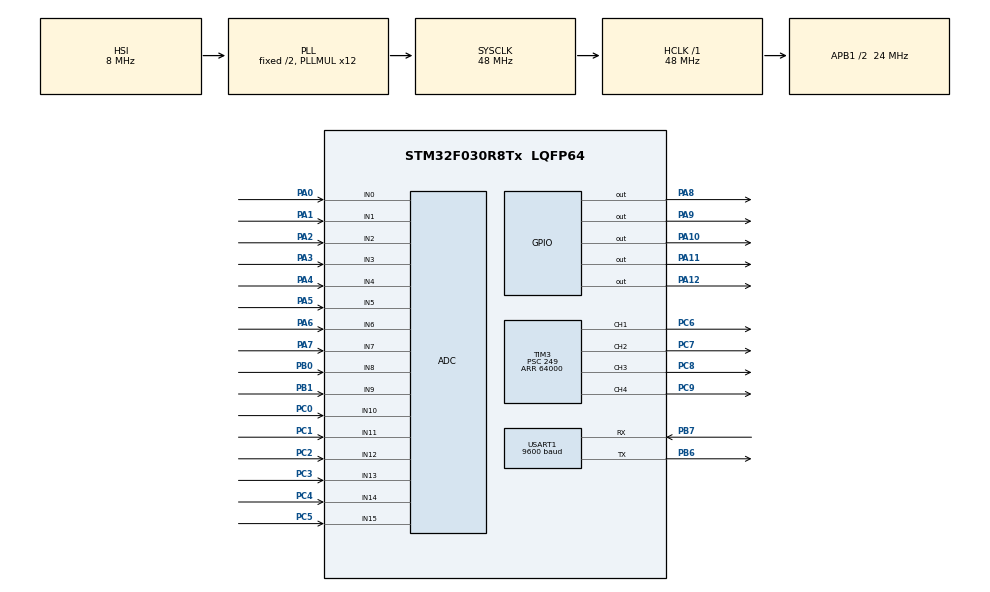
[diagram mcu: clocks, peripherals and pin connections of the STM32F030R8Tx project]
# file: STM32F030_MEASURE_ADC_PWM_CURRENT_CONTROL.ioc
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ADC.ContinuousConvMode=ENABLE
ADC.EOCSelection=ADC_EOC_SEQ_CONV
ADC.SamplingTime=ADC_SAMPLETIME_13CYCLES_5
Dma.ADC.0.Direction=DMA_PERIPH_TO_MEMORY
Dma.ADC.0.Instance=DMA1_Channel1
Dma.ADC.0.MemDataAlignment=DMA_MDATAALIGN_HALFWORD
Dma.ADC.0.MemInc=DMA_MINC_ENABLE
Dma.ADC.0.Mode=DMA_NORMAL
Dma.ADC.0.PeriphDataAlignment=DMA_PDATAALIGN_HALFWORD
Dma.ADC.0.PeriphInc=DMA_PINC_DISABLE
Dma.ADC.0.Priority=DMA_PRIORITY_LOW
Dma.Request0=ADC
Dma.Request1=USART1_RX
Dma.Request2=USART1_TX
Dma.USART1_RX.1.Direction=DMA_PERIPH_TO_MEMORY
Dma.USART1_RX.1.Instance=DMA1_Channel3
Dma.USART1_RX.1.MemDataAlignment=DMA_MDATAALIGN_BYTE
Dma.USART1_RX.1.MemInc=DMA_MINC_ENABLE
Dma.USART1_RX.1.Mode=DMA_NORMAL
Dma.USART1_RX.1.PeriphDataAlignment=DMA_PDATAALIGN_BYTE
Dma.USART1_RX.1.PeriphInc=DMA_PINC_DISABLE
Dma.USART1_RX.1.Priority=DMA_PRIORITY_LOW
Dma.USART1_TX.2.Direction=DMA_MEMORY_TO_PERIPH
Dma.USART1_TX.2.Instance=DMA1_Channel2
Dma.USART1_TX.2.MemDataAlignment=DMA_MDATAALIGN_BYTE
Dma.USART1_TX.2.MemInc=DMA_MINC_ENABLE
Dma.USART1_TX.2.Mode=DMA_NORMAL
Dma.USART1_TX.2.PeriphDataAlignment=DMA_PDATAALIGN_BYTE
Dma.USART1_TX.2.PeriphInc=DMA_PINC_DISABLE
Dma.USART1_TX.2.Priority=DMA_PRIORITY_LOW
Mcu.Family=STM32F0
Mcu.Name=STM32F030R8Tx
Mcu.Package=LQFP64
NVIC.DMA1_Channel1_IRQn=true\:0\:0\:false\:false\:true\:false\:true\:true
NVIC.DMA1_Channel2_3_IRQn=true\:0\:0\:false\:false\:true\:false\:true\:true
NVIC.TIM14_IRQn=true\:0\:0\:false\:false\:true\:true\:true\:true
NVIC.USART1_IRQn=true\:0\:0\:false\:false\:true\:true\:true\:true
PA0.Mode=IN0
PA0.Signal=ADC_IN0
PA1.Mode=IN1
PA1.Signal=ADC_IN1
PA10.Signal=GPIO_Output
PA11.Signal=GPIO_Output
PA12.Signal=GPIO_Output
PA2.Mode=IN2
PA2.Signal=ADC_IN2
PA3.Mode=IN3
PA3.Signal=ADC_IN3
PA4.Mode=IN4
PA4.Signal=ADC_IN4
PA5.Mode=IN5
PA5.Signal=ADC_IN5
PA6.Mode=IN6
PA6.Signal=ADC_IN6
PA7.Mode=IN7
PA7.Signal=ADC_IN7
PA8.Signal=GPIO_Output
PA9.Signal=GPIO_Output
PB0.Mode=IN8
PB0.Signal=ADC_IN8
PB1.Mode=IN9
PB1.Signal=ADC_IN9
PB6.Mode=Asynchronous
PB6.Signal=USART1_TX
PB7.Mode=Asynchronous
PB7.Signal=USART1_RX
PC0.Mode=IN10
PC0.Signal=ADC_IN10
PC1.Mode=IN11
PC1.Signal=ADC_IN11
PC2.Mode=IN12
PC2.Signal=ADC_IN12
PC3.Mode=IN13
PC3.Signal=ADC_IN13
PC4.Mode=IN14
PC4.Signal=ADC_IN14
PC5.Mode=IN15
PC5.Signal=ADC_IN15
PC6.Signal=S_TIM3_CH1
PC7.Signal=S_TIM3_CH2
PC8.Signal=S_TIM3_CH3
PC9.Signal=S_TIM3_CH4
ProjectManager.HeapSize=0x200
ProjectManager.StackSize=0x400
ProjectManager.TargetToolchain=STM32CubeIDE
RCC.AHBFreq_Value=48000000
RCC.APB1CLKDivider=RCC_HCLK_DIV2
RCC.APB1Freq_Value=24000000
RCC.APB1TimFreq_Value=48000000
RCC.HCLKFreq_Value=48000000
RCC.PLLMUL=RCC_PLL_MUL12
RCC.SYSCLKFreq_VALUE=48000000
RCC.SYSCLKSource=RCC_SYSCLKSOURCE_PLLCLK
SH.S_TIM3_CH1.0=TIM3_CH1,PWM Generation1 CH1
SH.S_TIM3_CH2.0=TIM3_CH2,PWM Generation2 CH2
SH.S_TIM3_CH3.0=TIM3_CH3,PWM Generation3 CH3
SH.S_TIM3_CH4.0=TIM3_CH4,PWM Generation4 CH4
TIM14.Period=480
TIM14.Prescaler=999
TIM3.AutoReloadPreload=TIM_AUTORELOAD_PRELOAD_ENABLE
TIM3.Channel-PWM\ Generation1\ CH1=TIM_CHANNEL_1
TIM3.Channel-PWM\ Generation2\ CH2=TIM_CHANNEL_2
TIM3.Channel-PWM\ Generation3\ CH3=TIM_CHANNEL_3
TIM3.Channel-PWM\ Generation4\ CH4=TIM_CHANNEL_4
TIM3.Period=64000
TIM3.Prescaler=249
TIM3.Pulse-PWM\ Generation1\ CH1=8000
TIM3.Pulse-PWM\ Generation2\ CH2=16000
TIM3.Pulse-PWM\ Generation3\ CH3=24000
TIM3.Pulse-PWM\ Generation4\ CH4=32000
USART1.BaudRate=9600
USART1.VirtualMode-Asynchronous=VM_ASYNC
VP_ADC_TempSens_Input.Mode=IN-TempSens
VP_ADC_Vref_Input.Mode=IN-Vrefint
VP_TIM14_VS_ClockSourceINT.Mode=Enable_Timer
VP_TIM3_VS_ClockSourceINT.Mode=Internal
board=custom

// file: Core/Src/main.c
/* USER CODE BEGIN Header */
/**
  ******************************************************************************
  * @file           : main.c
  * @brief          : Main program body
  ******************************************************************************
  * @attention
  *
  * Copyright (c) 2022 STMicroelectronics.
  * All rights reserved.
  *
  * This software is licensed under terms that can be found in the LICENSE file
  * in the root directory of this software component.
  * If no LICENSE file comes with this software, it is provided AS-IS.
  *
  ******************************************************************************
  */
/* USER CODE END Header */
#include "main.h"
#include "adc.h"
#include "dma.h"
#include "tim.h"
#include "usart.h"
#include "gpio.h"

/* USER CODE BEGIN Includes */
#include "nortos.h"
#include <stdio.h>
#include <string.h>
/* USER CODE END Includes */

/* USER CODE BEGIN PD */
#define ADC_CNANNELS 			16
#define UART_BUFFER_LEN 		200
#define DEFAULT_PWM_VALUE		100
#define MAX_PWM_VALUE			640
#define ADC_PRINT_UART_PERIOD	100
/* USER CODE END PD */

/* USER CODE BEGIN PV */
volatile uint16_t adcBuffer[ADC_CNANNELS];
volatile uint32_t countADC_bufferN = 0;
char txBufferUART[UART_BUFFER_LEN];
uint16_t pwm_Value[] = {DEFAULT_PWM_VALUE, DEFAULT_PWM_VALUE, DEFAULT_PWM_VALUE, DEFAULT_PWM_VALUE};
/* USER CODE END PV */

void SystemClock_Config(void);

/* USER CODE BEGIN 0 */

void updownPWM_CCR1(struct fParams * params){
	const uint32_t chRegs[]= {TIM_CHANNEL_1,TIM_CHANNEL_2,TIM_CHANNEL_3,TIM_CHANNEL_4};
	uint8_t ch = params->channel;
	int32_t value = params->value;
	ch--;

	if((value + pwm_Value[ch] < MAX_PWM_VALUE)  && (value + pwm_Value[ch] > 0) )
    pwm_Value[ch] += value;
	__HAL_TIM_SET_COMPARE(&htim3, chRegs[ch], pwm_Value[ch]);
}

void getADC_data(void){
	  if(HAL_ADC_Start_DMA(&hadc, (uint32_t *)adcBuffer, ADC_CNANNELS) != HAL_OK)
		  Error_Handler();
}

void printUART(void){
	txBufferUART[0] = '\0';
	sprintf(txBufferUART,"%ld,",countADC_bufferN);
	for(int i = 0; i < ADC_CNANNELS; i++){
		if(i < ADC_CNANNELS - 1 )
			sprintf(&txBufferUART[strlen(txBufferUART)],"%d,",adcBuffer[i]);
		else
			sprintf(&txBufferUART[strlen(txBufferUART)],"%d\n",adcBuffer[i]);
	}
	if(HAL_UART_Transmit_DMA(&huart1, (uint8_t *)txBufferUART, strlen(txBufferUART)) != HAL_OK)
		Error_Handler();
}

void HAL_UART_TxCpltCallback(UART_HandleTypeDef *huart)
{
  ;
}

void HAL_UART_TxHalfCpltCallback(UART_HandleTypeDef *huart)
{
  ;
}

/* USER CODE END 0 */

int main(void)
{

  /* MCU Configuration--------------------------------------------------------*/

  /* Reset of all peripherals, Initializes the Flash interface and the Systick. */
  HAL_Init();

  /* Configure the system clock */
  SystemClock_Config();

  /* Initialize all configured peripherals */
  MX_GPIO_Init();
  MX_DMA_Init();
  MX_ADC_Init();
  MX_USART1_UART_Init();
  MX_TIM14_Init();
  MX_TIM3_Init();
  /* USER CODE BEGIN 2 */

  if(HAL_ADCEx_Calibration_Start(&hadc) != HAL_OK)
	  Error_Handler();

  if(HAL_TIM_Base_Start_IT(&htim14) != HAL_OK)
	  Error_Handler();

  pFastQueueIni();
  FP_QueueIni();
  /* USER CODE END 2 */

  /* Infinite loop */
  /* USER CODE BEGIN WHILE */
  while (1)
  {
	  F_pull()();
	  FP_pull();

    /* USER CODE END WHILE */

  }
}

void SystemClock_Config(void)
{
  RCC_OscInitTypeDef RCC_OscInitStruct = {0};
  RCC_ClkInitTypeDef RCC_ClkInitStruct = {0};
  RCC_PeriphCLKInitTypeDef PeriphClkInit = {0};

  /** Initializes the RCC Oscillators according to the specified parameters
  * in the RCC_OscInitTypeDef structure.
  */
  RCC_OscInitStruct.OscillatorType = RCC_OSCILLATORTYPE_HSI|RCC_OSCILLATORTYPE_HSI14;
  RCC_OscInitStruct.HSIState = RCC_HSI_ON;
  RCC_OscInitStruct.HSI14State = RCC_HSI14_ON;
  RCC_OscInitStruct.HSICalibrationValue = RCC_HSICALIBRATION_DEFAULT;
  RCC_OscInitStruct.HSI14CalibrationValue = 16;
  RCC_OscInitStruct.PLL.PLLState = RCC_PLL_ON;
  RCC_OscInitStruct.PLL.PLLSource = RCC_PLLSOURCE_HSI;
  RCC_OscInitStruct.PLL.PLLMUL = RCC_PLL_MUL12;
  RCC_OscInitStruct.PLL.PREDIV = RCC_PREDIV_DIV1;
  if (HAL_RCC_OscConfig(&RCC_OscInitStruct) != HAL_OK)
  {
    Error_Handler();
  }

  /** Initializes the CPU, AHB and APB buses clocks
  */
  RCC_ClkInitStruct.ClockType = RCC_CLOCKTYPE_HCLK|RCC_CLOCKTYPE_SYSCLK
                              |RCC_CLOCKTYPE_PCLK1;
  RCC_ClkInitStruct.SYSCLKSource = RCC_SYSCLKSOURCE_PLLCLK;
  RCC_ClkInitStruct.AHBCLKDivider = RCC_SYSCLK_DIV1;
  RCC_ClkInitStruct.APB1CLKDivider = RCC_HCLK_DIV2;

  if (HAL_RCC_ClockConfig(&RCC_ClkInitStruct, FLASH_LATENCY_1) != HAL_OK)
  {
    Error_Handler();
  }
  PeriphClkInit.PeriphClockSelection = RCC_PERIPHCLK_USART1;
  PeriphClkInit.Usart1ClockSelection = RCC_USART1CLKSOURCE_PCLK1;
  if (HAL_RCCEx_PeriphCLKConfig(&PeriphClkInit) != HAL_OK)
  {
    Error_Handler();
  }
}

/* USER CODE BEGIN 4 */
void HAL_ADC_ConvCpltCallback(ADC_HandleTypeDef *hadc)
{
	;
}

void HAL_TIM_PeriodElapsedCallback(TIM_HandleTypeDef *htim){
	static uint16_t counter = 0;
	struct fParams setIncrease = {1, 1000}; //test CH1, +1000 each 1/100 sec;
	++counter;
	if (htim == &htim14){
		F_push(getADC_data);
		FP_push(updownPWM_CCR1, &setIncrease);
		if(!(counter % ADC_PRINT_UART_PERIOD)){
			++countADC_bufferN;
			F_push(printUART);
			counter = 0;
		}
	}
}
/* USER CODE END 4 */

void Error_Handler(void)
{
  __disable_irq();
  while (1)
  {
  }
}
